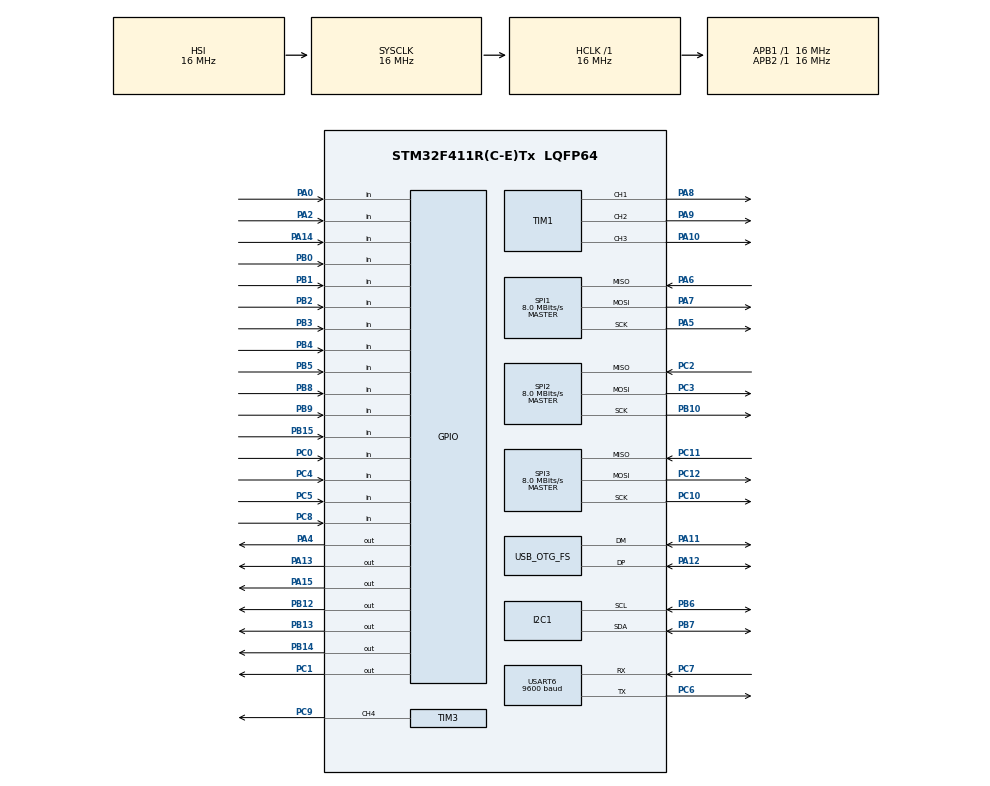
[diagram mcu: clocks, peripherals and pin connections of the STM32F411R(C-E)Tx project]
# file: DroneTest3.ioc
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Dma.Request0=USART6_RX
Dma.USART6_RX.0.Direction=DMA_PERIPH_TO_MEMORY
Dma.USART6_RX.0.FIFOMode=DMA_FIFOMODE_DISABLE
Dma.USART6_RX.0.Instance=DMA2_Stream1
Dma.USART6_RX.0.MemDataAlignment=DMA_MDATAALIGN_BYTE
Dma.USART6_RX.0.MemInc=DMA_MINC_ENABLE
Dma.USART6_RX.0.Mode=DMA_NORMAL
Dma.USART6_RX.0.PeriphDataAlignment=DMA_PDATAALIGN_BYTE
Dma.USART6_RX.0.PeriphInc=DMA_PINC_DISABLE
Dma.USART6_RX.0.Priority=DMA_PRIORITY_LOW
Mcu.Family=STM32F4
Mcu.Name=STM32F411R(C-E)Tx
Mcu.Package=LQFP64
NVIC.DMA2_Stream1_IRQn=true\:0\:0\:false\:false\:true\:false\:true\:true
NVIC.OTG_FS_IRQn=true\:0\:0\:false\:false\:true\:false\:true\:true
NVIC.PriorityGroup=NVIC_PRIORITYGROUP_4
NVIC.USART6_IRQn=true\:5\:0\:false\:false\:true\:true\:true\:true
PA0-WKUP.Signal=GPIO_Input
PA10.Signal=S_TIM1_CH3
PA11.Mode=Device_Only
PA11.Signal=USB_OTG_FS_DM
PA12.Mode=Device_Only
PA12.Signal=USB_OTG_FS_DP
PA13.Signal=GPIO_Output
PA14.Signal=GPIO_Input
PA15.Signal=GPIO_Output
PA2.Signal=GPIO_Input
PA4.Signal=GPIO_Output
PA5.Mode=Full_Duplex_Master
PA5.Signal=SPI1_SCK
PA6.Mode=Full_Duplex_Master
PA6.Signal=SPI1_MISO
PA7.Mode=Full_Duplex_Master
PA7.Signal=SPI1_MOSI
PA8.Signal=S_TIM1_CH1
PA9.Signal=S_TIM1_CH2
PB0.Signal=GPIO_Input
PB1.Signal=GPIO_Input
PB10.Mode=Full_Duplex_Master
PB10.Signal=SPI2_SCK
PB12.Signal=GPIO_Output
PB13.Signal=GPIO_Output
PB14.Signal=GPIO_Output
PB15.Signal=GPIO_Input
PB2.Signal=GPIO_Input
PB3.Signal=GPIO_Input
PB4.Signal=GPIO_Input
PB5.Signal=GPIO_Input
PB6.Mode=I2C
PB6.Signal=I2C1_SCL
PB7.Mode=I2C
PB7.Signal=I2C1_SDA
PB8.Signal=GPIO_Input
PB9.Signal=GPIO_Input
PC0.Signal=GPIO_Input
PC1.Signal=GPIO_Output
PC10.Mode=Full_Duplex_Master
PC10.Signal=SPI3_SCK
PC11.Mode=Full_Duplex_Master
PC11.Signal=SPI3_MISO
PC12.Mode=Full_Duplex_Master
PC12.Signal=SPI3_MOSI
PC2.Mode=Full_Duplex_Master
PC2.Signal=SPI2_MISO
PC3.Mode=Full_Duplex_Master
PC3.Signal=SPI2_MOSI
PC4.Signal=GPIO_Input
PC5.Signal=GPIO_Input
PC6.Mode=Asynchronous
PC6.Signal=USART6_TX
PC7.Mode=Asynchronous
PC7.Signal=USART6_RX
PC8.Signal=GPIO_Input
PC9.Signal=S_TIM3_CH4
PH0\ -\ OSC_IN.Mode=HSE-External-Oscillator
PH0\ -\ OSC_IN.Signal=RCC_OSC_IN
PH1\ -\ OSC_OUT.Mode=HSE-External-Oscillator
PH1\ -\ OSC_OUT.Signal=RCC_OSC_OUT
ProjectManager.HeapSize=0x200
ProjectManager.StackSize=0x400
ProjectManager.TargetToolchain=STM32CubeIDE
RCC.48MHZClocksFreq_Value=48000000
RCC.AHBFreq_Value=16000000
RCC.APB1Freq_Value=16000000
RCC.APB1TimFreq_Value=16000000
RCC.APB2Freq_Value=16000000
RCC.APB2TimFreq_Value=16000000
RCC.CortexFreq_Value=16000000
RCC.HCLKFreq_Value=16000000
RCC.HSE_VALUE=16000000
RCC.HSI_VALUE=16000000
RCC.LSE_VALUE=32768
RCC.PLLP=RCC_PLLP_DIV4
RCC.SYSCLKFreq_VALUE=16000000
RCC.VCOOutputFreq_Value=192000000
SH.S_TIM1_CH1.0=TIM1_CH1,PWM Generation1 CH1
SH.S_TIM1_CH2.0=TIM1_CH2,PWM Generation2 CH2
SH.S_TIM1_CH3.0=TIM1_CH3,PWM Generation3 CH3
SH.S_TIM3_CH4.0=TIM3_CH4,PWM Generation4 CH4
SPI1.CalculateBaudRate=8.0 MBits/s
SPI1.Direction=SPI_DIRECTION_2LINES
SPI1.Mode=SPI_MODE_MASTER
SPI1.VirtualType=VM_MASTER
SPI2.CalculateBaudRate=8.0 MBits/s
SPI2.Direction=SPI_DIRECTION_2LINES
SPI2.Mode=SPI_MODE_MASTER
SPI2.VirtualType=VM_MASTER
SPI3.CalculateBaudRate=8.0 MBits/s
SPI3.Direction=SPI_DIRECTION_2LINES
SPI3.Mode=SPI_MODE_MASTER
SPI3.VirtualType=VM_MASTER
TIM1.Channel-PWM\ Generation1\ CH1=TIM_CHANNEL_1
TIM1.Channel-PWM\ Generation2\ CH2=TIM_CHANNEL_2
TIM1.Channel-PWM\ Generation3\ CH3=TIM_CHANNEL_3
TIM3.Channel-PWM\ Generation4\ CH4=TIM_CHANNEL_4
USART6.BaudRate=9600
USART6.VirtualMode=VM_ASYNC
USB_DEVICE.CLASS_NAME_FS=CDC
USB_DEVICE.VirtualMode=Cdc
USB_DEVICE.VirtualModeFS=Cdc_FS
USB_OTG_FS.VirtualMode=Device_Only
VP_USB_DEVICE_VS_USB_DEVICE_CDC_FS.Mode=CDC_FS
board=custom

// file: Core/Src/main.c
/* USER CODE BEGIN Header */
/**
  ******************************************************************************
  * @file           : main.c
  * @brief          : Main program body
  ******************************************************************************
  * @attention
  *
  * Copyright (c) 2026 STMicroelectronics.
  * All rights reserved.
  *
  * This software is licensed under terms that can be found in the LICENSE file
  * in the root directory of this software component.
  * If no LICENSE file comes with this software, it is provided AS-IS.
  *
  ******************************************************************************
  */
/* USER CODE END Header */
#include "main.h"
#include "usb_device.h"
#include "usbd_cdc_if.h"

#include "ssd1306.h"
#include "fonts.h"
#include <stdio.h>
#include <string.h>
#include <inttypes.h>

/* USER CODE BEGIN PD */

#define GPS_RX_BUFFER_SIZE 128
#define MAX_UBX_PAYLOAD 128

/* USER CODE END PD */

I2C_HandleTypeDef hi2c1;

SPI_HandleTypeDef hspi1;
SPI_HandleTypeDef hspi2;
SPI_HandleTypeDef hspi3;

TIM_HandleTypeDef htim1;
TIM_HandleTypeDef htim3;

UART_HandleTypeDef huart6;
DMA_HandleTypeDef hdma_usart6_rx;

/* USER CODE BEGIN PV */
uint8_t mag[6];
uint8_t gyro[6];
uint8_t accel[6];

uint8_t bar[3];

uint8_t gps_rx_buffer[GPS_RX_BUFFER_SIZE];
volatile uint8_t gps_rx_ready = 0;
volatile uint16_t gps_rx_size = 0;
volatile uint32_t gps_uart_error = 0;
uint8_t test_byte;

uint8_t gps_config_payload[] = {
  // VALSET header
  0x00, // Version
  0x01, // Layers: RAM
  0x00, 0x00, //  Reserved

  // CFG-UART1OUTPROT-UBX = 1
  0x01, 0x00, 0x74, 0x10,
  0x01, // true

  // CFG-MSGOUT-UBX_NAV_PVT_UART1 = 1
  0x07, 0x00, 0x91, 0x20,
  0x01 // true
};

uint8_t rx_address[5] = {
  0x6A, 0x65, 0x6C, 0x6C, 0x79 // jelly
};

// magnetometer config
uint8_t mag_config1 = 0x7C;
uint8_t mag_config2 = 0x00;
uint8_t mag_config3 = 0x00;
uint8_t mag_config4 = 0x0C;
uint8_t mag_config5 = 0x40;

// gyro config
uint8_t gyro_config1 = 0x40;

// accel config
uint8_t accel_config1 = 0x40;

// IMU shared config
uint8_t shared_config1 = 0x44;

HAL_StatusTypeDef mag_status;
HAL_StatusTypeDef gyro_status;
HAL_StatusTypeDef accel_status;
HAL_StatusTypeDef bar_status;
HAL_StatusTypeDef gps_status;

extern USBD_HandleTypeDef hUsbDeviceFS;

void debug_print(const char* message) {
  static uint8_t tx_buf[256];
  USBD_CDC_HandleTypeDef *hcdc = (USBD_CDC_HandleTypeDef*)hUsbDeviceFS.pClassData;
  uint32_t start = HAL_GetTick();

  if (hcdc == NULL) {
    return;
  }
  while (hcdc->TxState != 0) {
    if (HAL_GetTick() - start > 20) {
      return;
    }
  }

  size_t len = strlen(message);
  if (len > sizeof(tx_buf)) {
    len = sizeof(tx_buf);
  }
  memcpy(tx_buf, message, len);
  CDC_Transmit_FS(tx_buf, (uint16_t)len);
}

HAL_StatusTypeDef BMP581_ReadPressure(uint8_t *data) {
  uint8_t tx[5] = {0x20 | 0x80, 0, 0, 0, 0};
  uint8_t rx[5] = {0};

  HAL_GPIO_WritePin(GPIOA, GPIO_PIN_4, GPIO_PIN_RESET);
  HAL_StatusTypeDef status = HAL_SPI_TransmitReceive(&hspi1, tx, rx, sizeof(tx), 100);
  HAL_GPIO_WritePin(GPIOA, GPIO_PIN_4, GPIO_PIN_SET);

  if (status == HAL_OK) {
    data[0] = rx[2];
    data[1] = rx[3];
    data[2] = rx[4];
  }

  return status;
}

HAL_StatusTypeDef BMP581_ReadChipID(uint8_t *chip_id) {
  uint8_t tx[3] = {0x01 | 0x80, 0, 0};
  uint8_t rx[3] = {0};

  HAL_GPIO_WritePin(GPIOA, GPIO_PIN_4, GPIO_PIN_RESET);
  HAL_StatusTypeDef status = HAL_SPI_TransmitReceive(&hspi1, tx, rx, sizeof(tx), 100);
  HAL_GPIO_WritePin(GPIOA, GPIO_PIN_4, GPIO_PIN_SET);

  if (status == HAL_OK) {
    *chip_id = rx[2];
  }

  return status;
}

HAL_StatusTypeDef BMP581_WriteRegister(uint8_t reg, uint8_t data) {
  uint8_t tx[2] = {reg, data};

  HAL_GPIO_WritePin(GPIOA, GPIO_PIN_4, GPIO_PIN_RESET);

  HAL_StatusTypeDef status = HAL_SPI_Transmit(&hspi1, tx, 2, 100);

  HAL_GPIO_WritePin(GPIOA, GPIO_PIN_4, GPIO_PIN_SET);

  return status;
}

volatile uint32_t gps_error_count = 0;
volatile uint32_t gps_bytes_total = 0;
volatile uint16_t gps_last_rx_size = 0;
volatile HAL_StatusTypeDef gps_rx_start_status = HAL_ERROR;

static HAL_StatusTypeDef GPS_StartRx(void) {
  HAL_StatusTypeDef status = HAL_UARTEx_ReceiveToIdle_DMA(&huart6, gps_rx_buffer, GPS_RX_BUFFER_SIZE);
  if (status == HAL_OK) {
    __HAL_DMA_DISABLE_IT(&hdma_usart6_rx, DMA_IT_HT);
  }
  gps_rx_start_status = status;
  return status;
}

void HAL_UARTEx_RxEventCallback(UART_HandleTypeDef *huart, uint16_t Size) {
  if (huart->Instance == USART6) {
    gps_rx_size = Size;
    gps_last_rx_size = Size;
    gps_bytes_total += Size;
    gps_rx_ready = 1;
  }
}

void HAL_UART_ErrorCallback(UART_HandleTypeDef *huart) {
  if (huart->Instance == USART6) {
    // gps_uart_error = HAL_UART_GetError(huart);
    gps_uart_error |= HAL_UART_GetError(huart);
    gps_error_count++;
    GPS_StartRx();
  }
}

HAL_StatusTypeDef Send_UBX_Frame(const uint8_t *payload, uint16_t payload_len) {
    if (payload_len > MAX_UBX_PAYLOAD) {
        return HAL_ERROR;
    }

    uint8_t frame[2 + 1 + 1 + 2 + MAX_UBX_PAYLOAD + 2];

    uint16_t i = 0;

    // Synchronization characters
    frame[i++] = 0xB5;
    frame[i++] = 0x62;

    // Class and ID: UBX-CFG-VALSET
    frame[i++] = 0x06;
    frame[i++] = 0x8A;

    // Payload length (little-endian)
    frame[i++] = payload_len & 0xFF;
    frame[i++] = (payload_len >> 8) & 0xFF;

    // Payload
    for (uint16_t j = 0; j < payload_len; j++) {
        frame[i++] = payload[j];
    }

    // Calculate UBX checksum
    uint8_t ck_a = 0;
    uint8_t ck_b = 0;

    // Checksum covers class, ID, length, and payload.
    // It excludes the two synchronization bytes.
    for (uint16_t j = 2; j < i; j++) {
        ck_a += frame[j];
        ck_b += ck_a;
    }

    frame[i++] = ck_a;
    frame[i++] = ck_b;

    return HAL_UART_Transmit(&huart6, frame, i, 1000);
}

uint8_t NRF_ReadRegister(uint8_t reg) {
  uint8_t command = reg & 0x1F;
  uint8_t value = 0;

  HAL_GPIO_WritePin(GPIOA, GPIO_PIN_15, GPIO_PIN_RESET);
  HAL_SPI_Transmit(&hspi3, &command, 1, HAL_MAX_DELAY);
  HAL_SPI_Receive(&hspi3, &value, 1, HAL_MAX_DELAY);
  HAL_GPIO_WritePin(GPIOA, GPIO_PIN_15, GPIO_PIN_SET);

  return value;
}

void NRF_WriteRegister(uint8_t reg, uint8_t value) {
  uint8_t buffer[2] = {
    (reg & 0x1F) | 0x20, value
  };

  HAL_GPIO_WritePin(GPIOA, GPIO_PIN_15, GPIO_PIN_RESET);
  HAL_SPI_Transmit(&hspi3, buffer, 2, HAL_MAX_DELAY);
  HAL_GPIO_WritePin(GPIOA, GPIO_PIN_15, GPIO_PIN_SET);
}

void NRF_WriteRegisterBytes(uint8_t reg, uint8_t *data, uint8_t length) {
  uint8_t command = (reg & 0x1F) | 0x20;

  HAL_GPIO_WritePin(GPIOA, GPIO_PIN_15, GPIO_PIN_RESET);
  HAL_SPI_Transmit(&hspi3, &command, 1, HAL_MAX_DELAY);
  HAL_SPI_Transmit(&hspi3, data, length, HAL_MAX_DELAY);
  HAL_GPIO_WritePin(GPIOA, GPIO_PIN_15, GPIO_PIN_SET);
}

void NRF_ReadPayload(uint8_t *buffer, uint8_t length) {
  uint8_t command = 0x61;

  HAL_GPIO_WritePin(GPIOA, GPIO_PIN_15, GPIO_PIN_RESET);
  HAL_SPI_Transmit(&hspi3, &command, 1, HAL_MAX_DELAY);
  HAL_SPI_Receive(&hspi3, buffer, length, HAL_MAX_DELAY);
  HAL_GPIO_WritePin(GPIOA, GPIO_PIN_15, GPIO_PIN_SET);
}

static uint8_t NRF_ReadStatus(void) {
  uint8_t command = 0xFF; /* NOP returns STATUS without changing the radio. */
  uint8_t status = 0;
  HAL_GPIO_WritePin(GPIOA, GPIO_PIN_15, GPIO_PIN_RESET);
  HAL_SPI_TransmitReceive(&hspi3, &command, &status, 1, 100);
  HAL_GPIO_WritePin(GPIOA, GPIO_PIN_15, GPIO_PIN_SET);
  return status;
}

static void NRF_ClearInterrupts(void) {
  NRF_WriteRegister(0x07, 0x70); /* RX_DR, TX_DS, MAX_RT clear on write-1. */
}

/* USER CODE END PV */

void SystemClock_Config(void);
static void MX_GPIO_Init(void);
static void MX_DMA_Init(void);
static void MX_I2C1_Init(void);
static void MX_SPI1_Init(void);
static void MX_SPI2_Init(void);
static void MX_SPI3_Init(void);
static void MX_TIM1_Init(void);
static void MX_TIM3_Init(void);
static void MX_USART6_UART_Init(void);

int main(void)
{

  /* MCU Configuration--------------------------------------------------------*/

  /* Reset of all peripherals, Initializes the Flash interface and the Systick. */
  HAL_Init();

  /* Configure the system clock */
  SystemClock_Config();

  /* Initialize all configured peripherals */
  MX_GPIO_Init();
  MX_DMA_Init();
  MX_I2C1_Init();
  MX_SPI1_Init();
  MX_SPI2_Init();
  MX_SPI3_Init();
  MX_TIM1_Init();
  MX_TIM3_Init();
  MX_USART6_UART_Init();
  MX_USB_DEVICE_Init();
  /* USER CODE BEGIN 2 */

  // configure magnetometer
  HAL_I2C_Mem_Write(
    &hi2c1, // I2C handle
    0x3D, // I2C address
    0x20, // control register 1
    I2C_MEMADD_SIZE_8BIT, // register size
    &mag_config1, // data to write
    1, // length
    100 // timeout
  );
  HAL_I2C_Mem_Write(
    &hi2c1, // I2C handle
    0x3D, // I2C address
    0x21, // control register 2
    I2C_MEMADD_SIZE_8BIT, // register size
    &mag_config2, // data to write
    1, // length
    100 // timeout
  );
  HAL_I2C_Mem_Write(
    &hi2c1, // I2C handle
    0x3D, // I2C address
    0x22, // control register 3
    I2C_MEMADD_SIZE_8BIT, // register size
    &mag_config3, // data to write
    1, // length
    100 // timeout
  );
  HAL_I2C_Mem_Write(
    &hi2c1, // I2C handle
    0x3D, // I2C address
    0x23, // control register 4
    I2C_MEMADD_SIZE_8BIT, // register size
    &mag_config4, // data to write
    1, // length
    100 // timeout
  );
  HAL_I2C_Mem_Write(
    &hi2c1, // I2C handle
    0x3D, // I2C address
    0x24, // control register 5
    I2C_MEMADD_SIZE_8BIT, // register size
    &mag_config5, // data to write
    1, // length
    100 // timeout
  );

  // configure gyro
  HAL_I2C_Mem_Write(
    &hi2c1, // I2C handle
    0xD5, // I2C address
    0x11, // CTRL2_G
    I2C_MEMADD_SIZE_8BIT, // register size
    &gyro_config1, // data to write
    1, // length
    100 // timeout
  );

  // configure accel
  HAL_I2C_Mem_Write(
    &hi2c1, // I2C handle
    0xD5, // I2C address
    0x10, // CTRL1_XL
    I2C_MEMADD_SIZE_8BIT, // register size
    &accel_config1, // data to write
    1, // length
    100 // timeout
  );

  // IMU shared config
  HAL_I2C_Mem_Write(
    &hi2c1, // I2C handle
    0xD5, // I2C address
    0x12, // CTRL3_C
    I2C_MEMADD_SIZE_8BIT, // register size
    &shared_config1, // data to write
    1, // length
    100 // timeout
  );

  BMP581_WriteRegister(0x36, 0x40);
  BMP581_WriteRegister(0x37, 0x01);

  NRF_WriteRegister(0x00, 0x0F);
  NRF_WriteRegister(0x01, 0x01);
  NRF_WriteRegister(0x02, 0x01);
  NRF_WriteRegister(0x03, 0x03);
  NRF_WriteRegister(0x04, 0x23);
  NRF_WriteRegister(0x05, 0x4C);
  NRF_WriteRegister(0x06, 0x06);
  NRF_WriteRegisterBytes(0x0A, rx_address, sizeof(rx_address));
  NRF_WriteRegister(0x11, 0x10);
  NRF_ClearInterrupts();

  gps_status = Send_UBX_Frame(gps_config_payload, sizeof(gps_config_payload));

  /* CONFIG.PWR_UP needs at least 1.5 ms before RX operation. */
  HAL_Delay(2000);

  // RF Debugging
  /*
  uint8_t status = NRF_ReadStatus();

  char buffer[64];

  snprintf(buffer, sizeof(buffer),
          "NRF STATUS: 0x%02X\r\n", status);

  debug_print(buffer);

  HAL_Delay(2000);

  uint8_t config = NRF_ReadRegister(0x00);
  uint8_t channel = NRF_ReadRegister(0x05);
  uint8_t rf_setup = NRF_ReadRegister(0x06);

  char buffer_[100];

  snprintf(buffer_, sizeof(buffer_),
          "CONFIG: %02X | RF_CH: %02X | RF_SETUP: %02X\r\n",
          config, channel, rf_setup);

  debug_print(buffer_);
  */

  /* CE is wired to PC1 in this project; high enables continuous RX. */
  // HAL_GPIO_WritePin(GPIOC, GPIO_PIN_1, GPIO_PIN_SET);

  /*
  if (GPS_StartRx() != HAL_OK) {
    debug_print("Receive to Idle DMA failed\r\n");
    Error_Handler();
  } else {
    debug_print("Receive to Idle DMA succeeded\r\n");
  }
  HAL_Delay(2000);
  */

  //char buffer[128];
  //snprintf(buffer, sizeof(buffer), "Hello world! Testing serial output.\r\n");
  //debug_print(buffer);

  debug_print("Hello world! Testing serial output.\r\n");
  HAL_Delay(2000);

  /* USER CODE END 2 */

  /* Infinite loop */
  while (1)
  {
    /*
    mag_status = HAL_I2C_Mem_Read(
      &hi2c1, // I2C handle
      0x3D, // I2C address
      0x28 | 0x80, // register address
      I2C_MEMADD_SIZE_8BIT, // register size
      (uint8_t *)mag, // data pointer
      6, // length
      100 // timeout
    ) == HAL_OK ? 0 : -1;
    if (mag_status != 0) {
      debug_print("Error reading magnetometer\r\n");
    } else {
      int16_t x = (int16_t)((mag[1] << 8) | mag[0]);
      int16_t y = (int16_t)((mag[3] << 8) | mag[2]);
      int16_t z = (int16_t)((mag[5] << 8) | mag[4]);

      char buffer[128];
      snprintf(buffer, sizeof buffer,
              "Mag X: %d, "
              "Mag Y: %d, "
              "Mag Z: %d\r\n",
              x, y, z);
      debug_print(buffer);
    }

    gyro_status = HAL_I2C_Mem_Read(
      &hi2c1,
      0xD5,
      0x22,
      I2C_MEMADD_SIZE_8BIT,
      (uint8_t *)gyro,
      6,
      100
    ) == HAL_OK ? 0 : -1;
    if (gyro_status != 0) {
      debug_print("Error reading gyro\r\n");
    } else {
      int16_t x = (int16_t)((gyro[1] << 8) | gyro[0]);
      int16_t y = (int16_t)((gyro[3] << 8) | gyro[2]);
      int16_t z = (int16_t)((gyro[5] << 8) | gyro[4]);

      int16_t x_converted = (int16_t)((float)x * 0.00875);
      int16_t y_converted = (int16_t)((float)y * 0.00875);
      int16_t z_converted = (int16_t)((float)z * 0.00875);

      char buffer[128];
      snprintf(buffer, sizeof buffer,
              "Gyro X: %d, "
              "Gyro Y: %d, "
              "Gyro Z: %d\r\n",
              x_converted, y_converted, z_converted);
      debug_print(buffer);
    }

    accel_status = HAL_I2C_Mem_Read(
      &hi2c1,
      0xD5,
      0x28,
      I2C_MEMADD_SIZE_8BIT,
      (uint8_t *)accel,
      6,
      100
    ) == HAL_OK ? 0 : -1;
    if (accel_status != 0) {
      debug_print("Error reading accel\r\n");
    } else {
      int16_t x = (int16_t)((accel[1] << 8) | accel[0]);
      int16_t y = (int16_t)((accel[3] << 8) | accel[2]);
      int16_t z = (int16_t)((accel[5] << 8) | accel[4]);

      int16_t x_converted = (int16_t)((float)x * 0.061);
      int16_t y_converted = (int16_t)((float)y * 0.061);
      int16_t z_converted = (int16_t)((float)z * 0.061);

      char buffer[128];
      snprintf(buffer, sizeof buffer,
              "Accel X: %d, "
              "Accel Y: %d, "
              "Accel Z: %d\r\n",
              x_converted, y_converted, z_converted);
      debug_print(buffer);
    }
    */
    /*
    bar_status = BMP581_ReadPressure(bar) == HAL_OK ? 0 : -1;
    if (bar_status != 0) {
      debug_print("Error reading pressure sensor\r\n");
    } else {
      uint32_t raw_pressure = ((uint32_t)bar[2] << 16) | ((uint32_t)bar[1] << 8) | (uint32_t)bar[0];
      uint16_t pressure_pa = (uint16_t)((raw_pressure / 64.0f) * 100); // pascals

      char buffer[16];
      snprintf(buffer, sizeof(buffer), "P: %d\r\n", pressure_pa);
      debug_print(buffer);
    }
    */

    /*
    uint8_t status = NRF_ReadStatus();
    if ((status & 0x40U) != 0U) { // RX_DR
      while ((NRF_ReadRegister(0x17) & 0x01U) == 0U) { // RX FIFO not empty
        uint8_t payload[16];
        char line[56];
        NRF_ReadPayload(payload, sizeof(payload));
        int n = snprintf(line, sizeof(line), "RX:");
        for (uint8_t i = 0; i < sizeof(payload) && n < (int)sizeof(line) - 4; ++i) {
          n += snprintf(line + n, sizeof(line) - (size_t)n, " %02X", payload[i]);
        }
        snprintf(line + n, sizeof(line) - (size_t)n, "\r\n");
        debug_print(line);
      }
      NRF_ClearInterrupts();

      debug_print("We are running!\r\n");
    }
    */
    /*
    if (gps_rx_ready) {
      uint16_t size;

      __disable_irq();
      size = gps_rx_size;
      gps_rx_ready = 0;
      __enable_irq();

      char buffer[GPS_RX_BUFFER_SIZE + 1];

      memcpy(buffer, gps_rx_buffer, size);
      buffer[size] = '\0';

      GPS_StartRx();

      debug_print(buffer);
    }

    static uint32_t last_status_tick = 0;
    if (HAL_GetTick() - last_status_tick >= 1000) {
      last_status_tick = HAL_GetTick();

      uint32_t err_bits, err_count;
      __disable_irq();
      err_bits = gps_uart_error;
      err_count = gps_error_count;
      gps_uart_error = 0;
      __enable_irq();

      char status_buffer[160];
      snprintf(status_buffer, sizeof(status_buffer),
               "\r\n[GPS] bytes:%" PRIu32 " | errors:%" PRIu32
               " err:0x%02" PRIX32 " | rx_start:%d uart_state:0x%02X"
               " uart_err:0x%02" PRIX32 " dma_left:%lu last_chunk:%u tx:%d\r\n",
               gps_bytes_total, err_count, err_bits,
               (int)gps_rx_start_status,
               (unsigned int)HAL_UART_GetState(&huart6),
               (uint32_t)HAL_UART_GetError(&huart6),
               (unsigned long)__HAL_DMA_GET_COUNTER(huart6.hdmarx),
               (unsigned int)gps_last_rx_size, (int)gps_status);
      debug_print(status_buffer);
    }
    */

    uint8_t gps_byte;

    HAL_StatusTypeDef status =
        HAL_UART_Receive(&huart6, &gps_byte, 1, 1000);

    if (status == HAL_OK)
    {
        char msg[16];
        snprintf(msg, sizeof(msg), "%02X\r\n", gps_byte);
        debug_print(msg);
    }
    else if (status == HAL_TIMEOUT)
    {
        debug_print("UART timeout\r\n");
    }
    else
    {
        debug_print("UART receive error\r\n");
    }

    /*
    HAL_StatusTypeDef status = HAL_UART_Receive(&huart6, &test_byte, 1, 1000);

    if (status == HAL_OK) {
      char msg[10];
      snprintf(msg, sizeof(msg), "%02X\r\n", test_byte);
      debug_print(msg);
    } else if (status == HAL_TIMEOUT) {
      debug_print("UART timeout\r\n");
    } else {
      debug_print("UART receive error\r\n");
    }
    */
    /*
    char debug_buffer[96];

    snprintf(
        debug_buffer,
        sizeof(debug_buffer),
        "UART State: 0x%02X | UART Error: 0x%08lX | DMA Count: %lu\r\n",
        (unsigned int)HAL_UART_GetState(&huart6),
        (unsigned long)HAL_UART_GetError(&huart6),
        (unsigned long)__HAL_DMA_GET_COUNTER(huart6.hdmarx)
    );

    debug_print(debug_buffer);
    */
  }
}

void SystemClock_Config(void)
{
  RCC_OscInitTypeDef RCC_OscInitStruct = {0};
  RCC_ClkInitTypeDef RCC_ClkInitStruct = {0};

  /** Configure the main internal regulator output voltage
  */
  __HAL_RCC_PWR_CLK_ENABLE();
  __HAL_PWR_VOLTAGESCALING_CONFIG(PWR_REGULATOR_VOLTAGE_SCALE1);

  /** Initializes the RCC Oscillators according to the specified parameters
  * in the RCC_OscInitTypeDef structure.
  */
  RCC_OscInitStruct.OscillatorType = RCC_OSCILLATORTYPE_HSI|RCC_OSCILLATORTYPE_HSE;
  RCC_OscInitStruct.HSEState = RCC_HSE_ON;
  RCC_OscInitStruct.HSIState = RCC_HSI_ON;
  RCC_OscInitStruct.HSICalibrationValue = RCC_HSICALIBRATION_DEFAULT;
  RCC_OscInitStruct.PLL.PLLState = RCC_PLL_ON;
  RCC_OscInitStruct.PLL.PLLSource = RCC_PLLSOURCE_HSE;
  RCC_OscInitStruct.PLL.PLLM = 16;
  RCC_OscInitStruct.PLL.PLLN = 192;
  RCC_OscInitStruct.PLL.PLLP = RCC_PLLP_DIV4;
  RCC_OscInitStruct.PLL.PLLQ = 4;
  if (HAL_RCC_OscConfig(&RCC_OscInitStruct) != HAL_OK)
  {
    Error_Handler();
  }

  /** Initializes the CPU, AHB and APB buses clocks
  */
  RCC_ClkInitStruct.ClockType = RCC_CLOCKTYPE_HCLK|RCC_CLOCKTYPE_SYSCLK
                              |RCC_CLOCKTYPE_PCLK1|RCC_CLOCKTYPE_PCLK2;
  RCC_ClkInitStruct.SYSCLKSource = RCC_SYSCLKSOURCE_HSI;
  RCC_ClkInitStruct.AHBCLKDivider = RCC_SYSCLK_DIV1;
  RCC_ClkInitStruct.APB1CLKDivider = RCC_HCLK_DIV1;
  RCC_ClkInitStruct.APB2CLKDivider = RCC_HCLK_DIV1;

  if (HAL_RCC_ClockConfig(&RCC_ClkInitStruct, FLASH_LATENCY_1) != HAL_OK)
  {
    Error_Handler();
  }
}

static void MX_I2C1_Init(void)
{

  hi2c1.Instance = I2C1;
  hi2c1.Init.ClockSpeed = 100000;
  hi2c1.Init.DutyCycle = I2C_DUTYCYCLE_2;
  hi2c1.Init.OwnAddress1 = 0;
  hi2c1.Init.AddressingMode = I2C_ADDRESSINGMODE_7BIT;
  hi2c1.Init.DualAddressMode = I2C_DUALADDRESS_DISABLE;
  hi2c1.Init.OwnAddress2 = 0;
  hi2c1.Init.GeneralCallMode = I2C_GENERALCALL_DISABLE;
  hi2c1.Init.NoStretchMode = I2C_NOSTRETCH_DISABLE;
  if (HAL_I2C_Init(&hi2c1) != HAL_OK)
  {
    Error_Handler();
  }

}

static void MX_SPI1_Init(void)
{

  /* SPI1 parameter configuration*/
  hspi1.Instance = SPI1;
  hspi1.Init.Mode = SPI_MODE_MASTER;
  hspi1.Init.Direction = SPI_DIRECTION_2LINES;
  hspi1.Init.DataSize = SPI_DATASIZE_8BIT;
  hspi1.Init.CLKPolarity = SPI_POLARITY_LOW;
  hspi1.Init.CLKPhase = SPI_PHASE_1EDGE;
  hspi1.Init.NSS = SPI_NSS_SOFT;
  hspi1.Init.BaudRatePrescaler = SPI_BAUDRATEPRESCALER_2;
  hspi1.Init.FirstBit = SPI_FIRSTBIT_MSB;
  hspi1.Init.TIMode = SPI_TIMODE_DISABLE;
  hspi1.Init.CRCCalculation = SPI_CRCCALCULATION_DISABLE;
  hspi1.Init.CRCPolynomial = 10;
  if (HAL_SPI_Init(&hspi1) != HAL_OK)
  {
    Error_Handler();
  }

}

static void MX_SPI2_Init(void)
{

  /* SPI2 parameter configuration*/
  hspi2.Instance = SPI2;
  hspi2.Init.Mode = SPI_MODE_MASTER;
  hspi2.Init.Direction = SPI_DIRECTION_2LINES;
  hspi2.Init.DataSize = SPI_DATASIZE_8BIT;
  hspi2.Init.CLKPolarity = SPI_POLARITY_LOW;
  hspi2.Init.CLKPhase = SPI_PHASE_1EDGE;
  hspi2.Init.NSS = SPI_NSS_SOFT;
  hspi2.Init.BaudRatePrescaler = SPI_BAUDRATEPRESCALER_2;
  hspi2.Init.FirstBit = SPI_FIRSTBIT_MSB;
  hspi2.Init.TIMode = SPI_TIMODE_DISABLE;
  hspi2.Init.CRCCalculation = SPI_CRCCALCULATION_DISABLE;
  hspi2.Init.CRCPolynomial = 10;
  if (HAL_SPI_Init(&hspi2) != HAL_OK)
  {
    Error_Handler();
  }

}

static void MX_SPI3_Init(void)
{

  /* SPI3 parameter configuration*/
  hspi3.Instance = SPI3;
  hspi3.Init.Mode = SPI_MODE_MASTER;
  hspi3.Init.Direction = SPI_DIRECTION_2LINES;
  hspi3.Init.DataSize = SPI_DATASIZE_8BIT;
  hspi3.Init.CLKPolarity = SPI_POLARITY_LOW;
  hspi3.Init.CLKPhase = SPI_PHASE_1EDGE;
  hspi3.Init.NSS = SPI_NSS_SOFT;
  hspi3.Init.BaudRatePrescaler = SPI_BAUDRATEPRESCALER_2;
  hspi3.Init.FirstBit = SPI_FIRSTBIT_MSB;
  hspi3.Init.TIMode = SPI_TIMODE_DISABLE;
  hspi3.Init.CRCCalculation = SPI_CRCCALCULATION_DISABLE;
  hspi3.Init.CRCPolynomial = 10;
  if (HAL_SPI_Init(&hspi3) != HAL_OK)
  {
    Error_Handler();
  }

}

static void MX_TIM1_Init(void)
{

  TIM_MasterConfigTypeDef sMasterConfig = {0};
  TIM_OC_InitTypeDef sConfigOC = {0};
  TIM_BreakDeadTimeConfigTypeDef sBreakDeadTimeConfig = {0};

  htim1.Instance = TIM1;
  htim1.Init.Prescaler = 0;
  htim1.Init.CounterMode = TIM_COUNTERMODE_UP;
  htim1.Init.Period = 65535;
  htim1.Init.ClockDivision = TIM_CLOCKDIVISION_DIV1;
  htim1.Init.RepetitionCounter = 0;
  htim1.Init.AutoReloadPreload = TIM_AUTORELOAD_PRELOAD_DISABLE;
  if (HAL_TIM_PWM_Init(&htim1) != HAL_OK)
  {
    Error_Handler();
  }
  sMasterConfig.MasterOutputTrigger = TIM_TRGO_RESET;
  sMasterConfig.MasterSlaveMode = TIM_MASTERSLAVEMODE_DISABLE;
  if (HAL_TIMEx_MasterConfigSynchronization(&htim1, &sMasterConfig) != HAL_OK)
  {
    Error_Handler();
  }
  sConfigOC.OCMode = TIM_OCMODE_PWM1;
  sConfigOC.Pulse = 0;
  sConfigOC.OCPolarity = TIM_OCPOLARITY_HIGH;
  sConfigOC.OCNPolarity = TIM_OCNPOLARITY_HIGH;
  sConfigOC.OCFastMode = TIM_OCFAST_DISABLE;
  sConfigOC.OCIdleState = TIM_OCIDLESTATE_RESET;
  sConfigOC.OCNIdleState = TIM_OCNIDLESTATE_RESET;
  if (HAL_TIM_PWM_ConfigChannel(&htim1, &sConfigOC, TIM_CHANNEL_1) != HAL_OK)
  {
    Error_Handler();
  }
  if (HAL_TIM_PWM_ConfigChannel(&htim1, &sConfigOC, TIM_CHANNEL_2) != HAL_OK)
  {
    Error_Handler();
  }
  if (HAL_TIM_PWM_ConfigChannel(&htim1, &sConfigOC, TIM_CHANNEL_3) != HAL_OK)
  {
    Error_Handler();
  }
  sBreakDeadTimeConfig.OffStateRunMode = TIM_OSSR_DISABLE;
  sBreakDeadTimeConfig.OffStateIDLEMode = TIM_OSSI_DISABLE;
  sBreakDeadTimeConfig.LockLevel = TIM_LOCKLEVEL_OFF;
  sBreakDeadTimeConfig.DeadTime = 0;
  sBreakDeadTimeConfig.BreakState = TIM_BREAK_DISABLE;
  sBreakDeadTimeConfig.BreakPolarity = TIM_BREAKPOLARITY_HIGH;
  sBreakDeadTimeConfig.AutomaticOutput = TIM_AUTOMATICOUTPUT_DISABLE;
  if (HAL_TIMEx_ConfigBreakDeadTime(&htim1, &sBreakDeadTimeConfig) != HAL_OK)
  {
    Error_Handler();
  }
  HAL_TIM_MspPostInit(&htim1);

}

static void MX_TIM3_Init(void)
{

  TIM_MasterConfigTypeDef sMasterConfig = {0};
  TIM_OC_InitTypeDef sConfigOC = {0};

  htim3.Instance = TIM3;
  htim3.Init.Prescaler = 0;
  htim3.Init.CounterMode = TIM_COUNTERMODE_UP;
  htim3.Init.Period = 65535;
  htim3.Init.ClockDivision = TIM_CLOCKDIVISION_DIV1;
  htim3.Init.AutoReloadPreload = TIM_AUTORELOAD_PRELOAD_DISABLE;
  if (HAL_TIM_PWM_Init(&htim3) != HAL_OK)
  {
    Error_Handler();
  }
  sMasterConfig.MasterOutputTrigger = TIM_TRGO_RESET;
  sMasterConfig.MasterSlaveMode = TIM_MASTERSLAVEMODE_DISABLE;
  if (HAL_TIMEx_MasterConfigSynchronization(&htim3, &sMasterConfig) != HAL_OK)
  {
    Error_Handler();
  }
  sConfigOC.OCMode = TIM_OCMODE_PWM1;
  sConfigOC.Pulse = 0;
  sConfigOC.OCPolarity = TIM_OCPOLARITY_HIGH;
  sConfigOC.OCFastMode = TIM_OCFAST_DISABLE;
  if (HAL_TIM_PWM_ConfigChannel(&htim3, &sConfigOC, TIM_CHANNEL_4) != HAL_OK)
  {
    Error_Handler();
  }
  HAL_TIM_MspPostInit(&htim3);

}

static void MX_USART6_UART_Init(void)
{

  huart6.Instance = USART6;
  huart6.Init.BaudRate = 9600;
  huart6.Init.WordLength = UART_WORDLENGTH_8B;
  huart6.Init.StopBits = UART_STOPBITS_1;
  huart6.Init.Parity = UART_PARITY_NONE;
  huart6.Init.Mode = UART_MODE_TX_RX;
  huart6.Init.HwFlowCtl = UART_HWCONTROL_NONE;
  huart6.Init.OverSampling = UART_OVERSAMPLING_16;
  if (HAL_UART_Init(&huart6) != HAL_OK)
  {
    Error_Handler();
  }

}

static void MX_DMA_Init(void)
{

  /* DMA controller clock enable */
  __HAL_RCC_DMA2_CLK_ENABLE();

  /* DMA interrupt init */
  /* DMA2_Stream1_IRQn interrupt configuration */
  HAL_NVIC_SetPriority(DMA2_Stream1_IRQn, 0, 0);
  HAL_NVIC_EnableIRQ(DMA2_Stream1_IRQn);

}

static void MX_GPIO_Init(void)
{
  GPIO_InitTypeDef GPIO_InitStruct = {0};

  /* GPIO Ports Clock Enable */
  __HAL_RCC_GPIOH_CLK_ENABLE();
  __HAL_RCC_GPIOC_CLK_ENABLE();
  __HAL_RCC_GPIOA_CLK_ENABLE();
  __HAL_RCC_GPIOB_CLK_ENABLE();

  /*Configure GPIO pin Output Level */
  HAL_GPIO_WritePin(GPIOC, GPIO_PIN_1, GPIO_PIN_RESET);

  /*Configure GPIO pin Output Level */
  HAL_GPIO_WritePin(GPIOA, GPIO_PIN_4|GPIO_PIN_13|GPIO_PIN_15, GPIO_PIN_RESET);

  /*Configure GPIO pin Output Level */
  HAL_GPIO_WritePin(GPIOB, GPIO_PIN_12|GPIO_PIN_13|GPIO_PIN_14, GPIO_PIN_RESET);

  /*Configure GPIO pins : PC0 PC4 PC5 PC8 */
  GPIO_InitStruct.Pin = GPIO_PIN_0|GPIO_PIN_4|GPIO_PIN_5|GPIO_PIN_8;
  GPIO_InitStruct.Mode = GPIO_MODE_INPUT;
  GPIO_InitStruct.Pull = GPIO_NOPULL;
  HAL_GPIO_Init(GPIOC, &GPIO_InitStruct);

  /*Configure GPIO pin : PC1 */
  GPIO_InitStruct.Pin = GPIO_PIN_1;
  GPIO_InitStruct.Mode = GPIO_MODE_OUTPUT_PP;
  GPIO_InitStruct.Pull = GPIO_NOPULL;
  GPIO_InitStruct.Speed = GPIO_SPEED_FREQ_LOW;
  HAL_GPIO_Init(GPIOC, &GPIO_InitStruct);

  /*Configure GPIO pins : PA0 PA2 PA14 */
  GPIO_InitStruct.Pin = GPIO_PIN_0|GPIO_PIN_2|GPIO_PIN_14;
  GPIO_InitStruct.Mode = GPIO_MODE_INPUT;
  GPIO_InitStruct.Pull = GPIO_NOPULL;
  HAL_GPIO_Init(GPIOA, &GPIO_InitStruct);

  /*Configure GPIO pins : PA4 PA13 PA15 */
  GPIO_InitStruct.Pin = GPIO_PIN_4|GPIO_PIN_13|GPIO_PIN_15;
  GPIO_InitStruct.Mode = GPIO_MODE_OUTPUT_PP;
  GPIO_InitStruct.Pull = GPIO_NOPULL;
  GPIO_InitStruct.Speed = GPIO_SPEED_FREQ_LOW;
  HAL_GPIO_Init(GPIOA, &GPIO_InitStruct);

  /*Configure GPIO pins : PB0 PB1 PB2 PB15
                           PB3 PB4 PB5 PB8
                           PB9 */
  GPIO_InitStruct.Pin = GPIO_PIN_0|GPIO_PIN_1|GPIO_PIN_2|GPIO_PIN_15
                          |GPIO_PIN_3|GPIO_PIN_4|GPIO_PIN_5|GPIO_PIN_8
                          |GPIO_PIN_9;
  GPIO_InitStruct.Mode = GPIO_MODE_INPUT;
  GPIO_InitStruct.Pull = GPIO_NOPULL;
  HAL_GPIO_Init(GPIOB, &GPIO_InitStruct);

  /*Configure GPIO pins : PB12 PB13 PB14 */
  GPIO_InitStruct.Pin = GPIO_PIN_12|GPIO_PIN_13|GPIO_PIN_14;
  GPIO_InitStruct.Mode = GPIO_MODE_OUTPUT_PP;
  GPIO_InitStruct.Pull = GPIO_NOPULL;
  GPIO_InitStruct.Speed = GPIO_SPEED_FREQ_LOW;
  HAL_GPIO_Init(GPIOB, &GPIO_InitStruct);

}

void Error_Handler(void)
{
  __disable_irq();
  while (1)
  {
  }
}
